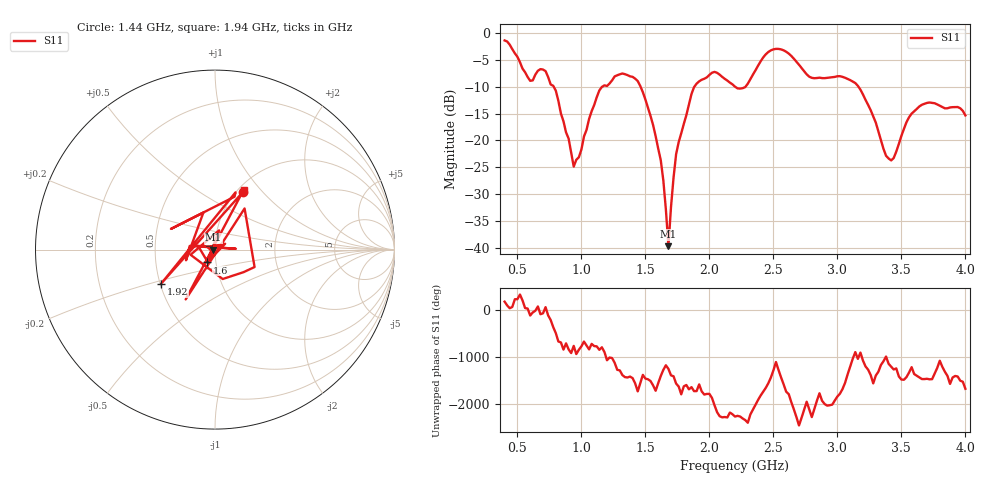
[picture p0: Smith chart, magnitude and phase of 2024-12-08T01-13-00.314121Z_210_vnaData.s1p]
!Created with skrf (http://scikit-rf.org).
# Hz S RI R 50.0
!freq ReS11 ImS11
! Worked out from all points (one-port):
!   181 points, 400 MHz to 4 GHz, reference 50 ohm
!   lowest |S11| = -39.7 dB at 1.68 GHz (marker M1), VSWR 1.02, Z = 49 - j0.0217 ohm
!   |S11| at or under -10 dB: 784.2 MHz to 1.161 GHz (376.4 MHz wide, 38.7 % of centre); 1.463 GHz to 1.882 GHz (418.9 MHz wide, 25.1 % of centre); 3.165 GHz to end of sweep (the widest 3 of 4)
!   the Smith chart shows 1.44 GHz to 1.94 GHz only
!   S11 on the Smith chart (normalised r, x): 1.44 GHz: 1.06, +0.79; 1.6 GHz: 0.91, -0.13; 1.92 GHz: 0.51, -0.22; 1.94 GHz: 1.07, +0.82
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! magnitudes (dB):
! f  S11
! 400 MHz  -1.3
! 600 MHz  -8.9
! 720 MHz  -7.1
! 860 MHz  -16.4
! 940 MHz  -24.9
! 1.14 GHz  -10.7
! 1.3 GHz  -7.7
! 1.44 GHz  -8.9
! 1.6 GHz  -21.5
! 1.64 GHz  -27.5
! 1.68 GHz  -39.7
! 1.72 GHz  -26.9
! 1.76 GHz  -20.3
! 1.86 GHz  -11.3
! 1.92 GHz  -9.0
! 1.94 GHz  -8.7
! 2.04 GHz  -7.2
! 2.2 GHz  -10.0
! 2.28 GHz  -10.0
! 2.48 GHz  -3.2
! 2.66 GHz  -4.7
! 2.8 GHz  -8.3
! 3.1 GHz  -8.7
! 3.2 GHz  -11.4
! 3.42 GHz  -23.7
! 3.56 GHz  -15.7
! 3.72 GHz  -12.9
! 4 GHz  -15.3
